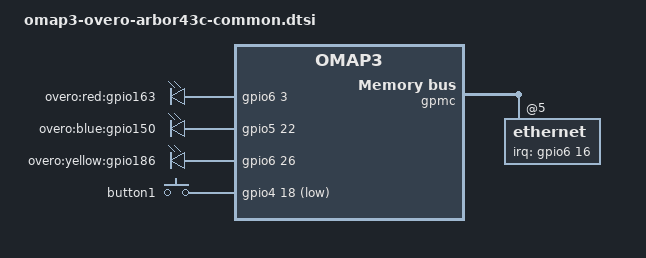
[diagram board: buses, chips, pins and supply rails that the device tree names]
/*
 * Copyright (C) 2014 Gumstix, Inc. - https://www.gumstix.com/
 *
 * This program is free software; you can redistribute it and/or modify
 * it under the terms of the GNU General Public License version 2 as
 * published by the Free Software Foundation.
 */

/*
 * Arbor43C expansion board is manufactured by Gumstix Inc.
 * https://store.gumstix.com/index.php/products/635/
 */

#include "omap3-overo-common-peripherals.dtsi"
#include "omap3-overo-common-lcd43c.dtsi"

#include <dt-bindings/input/input.h>

/ {
	leds {
		compatible = "gpio-leds";
		pinctrl-names = "default";
		pinctrl-0 = <&led_pins>;
		heartbeat {
			label = "overo:red:gpio163";
			gpios = <&gpio6 3 GPIO_ACTIVE_HIGH>;		/* gpio_163 */
			/* linux,default-trigger = "heartbeat"; */
		};
		gpio150 {
			label = "overo:blue:gpio150";
			gpios = <&gpio5 22 GPIO_ACTIVE_HIGH>;		/* gpio_150 */
		};
		gpio186 {
			label = "overo:yellow:gpio186";
			gpios = <&gpio6 26 GPIO_ACTIVE_HIGH>; 	/* gpio_186 */
		};
	};

	gpio_keys {
		compatible = "gpio-keys";
		pinctrl-names = "default";
		pinctrl-0 = <&button_pins>;
		#address-cells = <1>;
		#size-cells = <0>;
		button1@114 {
			label = "button1";
			linux,code = <BTN_1>;
			gpios = <&gpio4 18 GPIO_ACTIVE_LOW>;		/* gpio_114 */
			gpio-key,wakeup;
		};
	};
};

#include "omap-gpmc-smsc9221.dtsi"

&gpmc {
	ranges = <5 0 0x2c000000 0x1000000>;	/* CS5 */

	ethernet@gpmc {
		reg = <5 0 0xff>;
		interrupt-parent = <&gpio6>;
		interrupts = <16 IRQ_TYPE_LEVEL_LOW>;	/* GPIO 176 */
	};
};

&lis33de {
	status = "disabled";
};

